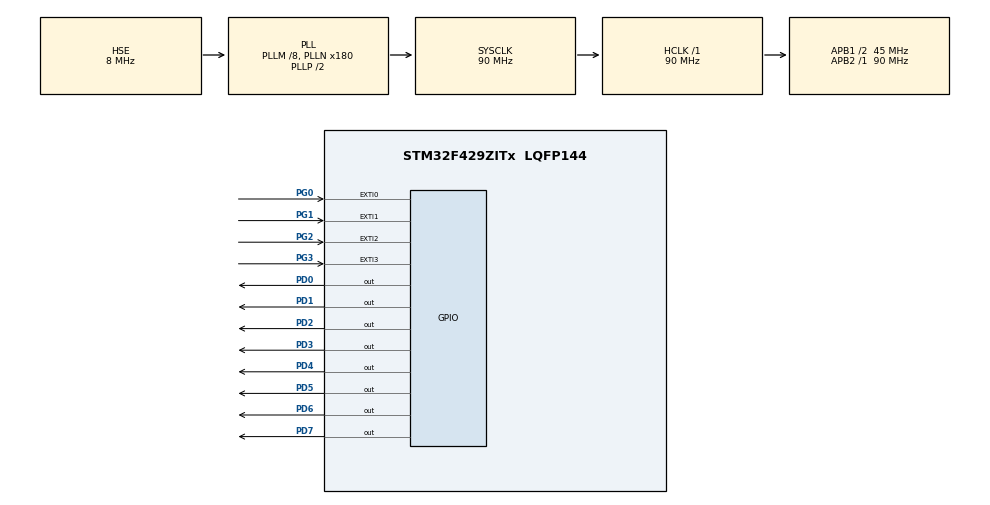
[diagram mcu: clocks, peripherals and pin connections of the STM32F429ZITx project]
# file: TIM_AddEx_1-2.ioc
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Mcu.Family=STM32F4
Mcu.Name=STM32F429ZITx
Mcu.Package=LQFP144
NVIC.EXTI0_IRQn=true\:0\:0\:false\:false\:true\:true\:true\:true
NVIC.EXTI1_IRQn=true\:0\:0\:false\:false\:true\:true\:true\:true
NVIC.EXTI2_IRQn=true\:0\:0\:false\:false\:true\:true\:true\:true
NVIC.EXTI3_IRQn=true\:0\:0\:false\:false\:true\:true\:true\:true
NVIC.PriorityGroup=NVIC_PRIORITYGROUP_4
NVIC.TIM2_IRQn=true\:0\:0\:false\:false\:true\:true\:true\:true
PA13.Mode=Serial_Wire
PA13.Signal=SYS_JTMS-SWDIO
PA14.Mode=Serial_Wire
PA14.Signal=SYS_JTCK-SWCLK
PD0.GPIO_ModeDefaultOutputPP=GPIO_MODE_OUTPUT_PP
PD0.GPIO_PuPd=GPIO_PULLUP
PD0.GPIO_Speed=GPIO_SPEED_FREQ_HIGH
PD0.PinState=GPIO_PIN_RESET
PD0.Signal=GPIO_Output
PD1.GPIO_ModeDefaultOutputPP=GPIO_MODE_OUTPUT_PP
PD1.GPIO_PuPd=GPIO_PULLUP
PD1.GPIO_Speed=GPIO_SPEED_FREQ_HIGH
PD1.PinState=GPIO_PIN_RESET
PD1.Signal=GPIO_Output
PD2.GPIO_ModeDefaultOutputPP=GPIO_MODE_OUTPUT_PP
PD2.GPIO_PuPd=GPIO_PULLUP
PD2.GPIO_Speed=GPIO_SPEED_FREQ_HIGH
PD2.PinState=GPIO_PIN_RESET
PD2.Signal=GPIO_Output
PD3.GPIO_ModeDefaultOutputPP=GPIO_MODE_OUTPUT_PP
PD3.GPIO_PuPd=GPIO_PULLUP
PD3.GPIO_Speed=GPIO_SPEED_FREQ_HIGH
PD3.PinState=GPIO_PIN_RESET
PD3.Signal=GPIO_Output
PD4.GPIO_ModeDefaultOutputPP=GPIO_MODE_OUTPUT_PP
PD4.GPIO_PuPd=GPIO_PULLUP
PD4.GPIO_Speed=GPIO_SPEED_FREQ_HIGH
PD4.PinState=GPIO_PIN_RESET
PD4.Signal=GPIO_Output
PD5.GPIO_ModeDefaultOutputPP=GPIO_MODE_OUTPUT_PP
PD5.GPIO_PuPd=GPIO_PULLUP
PD5.GPIO_Speed=GPIO_SPEED_FREQ_HIGH
PD5.PinState=GPIO_PIN_RESET
PD5.Signal=GPIO_Output
PD6.GPIO_ModeDefaultOutputPP=GPIO_MODE_OUTPUT_PP
PD6.GPIO_PuPd=GPIO_PULLUP
PD6.GPIO_Speed=GPIO_SPEED_FREQ_HIGH
PD6.PinState=GPIO_PIN_RESET
PD6.Signal=GPIO_Output
PD7.GPIO_ModeDefaultOutputPP=GPIO_MODE_OUTPUT_PP
PD7.GPIO_PuPd=GPIO_PULLUP
PD7.GPIO_Speed=GPIO_SPEED_FREQ_HIGH
PD7.PinState=GPIO_PIN_RESET
PD7.Signal=GPIO_Output
PG0.GPIO_ModeDefaultEXTI=GPIO_MODE_IT_FALLING
PG0.GPIO_PuPd=GPIO_NOPULL
PG0.Signal=GPXTI0
PG1.GPIO_ModeDefaultEXTI=GPIO_MODE_IT_FALLING
PG1.GPIO_PuPd=GPIO_NOPULL
PG1.Signal=GPXTI1
PG2.GPIO_ModeDefaultEXTI=GPIO_MODE_IT_FALLING
PG2.GPIO_PuPd=GPIO_NOPULL
PG2.Signal=GPXTI2
PG3.GPIO_ModeDefaultEXTI=GPIO_MODE_IT_FALLING
PG3.GPIO_PuPd=GPIO_NOPULL
PG3.Signal=GPXTI3
PH0/OSC_IN.Mode=HSE-External-Clock-Source
PH0/OSC_IN.Signal=RCC_OSC_IN
PH1/OSC_OUT.Mode=HSE-External-Clock-Source
PH1/OSC_OUT.Signal=RCC_OSC_OUT
ProjectManager.HeapSize=0x200
ProjectManager.StackSize=0x400
ProjectManager.TargetToolchain=STM32CubeIDE
RCC.48MHZClocksFreq_Value=45000000
RCC.AHBFreq_Value=90000000
RCC.APB1CLKDivider=RCC_HCLK_DIV2
RCC.APB1Freq_Value=45000000
RCC.APB1TimFreq_Value=90000000
RCC.APB2Freq_Value=90000000
RCC.APB2TimFreq_Value=90000000
RCC.CortexFreq_Value=90000000
RCC.HCLKFreq_Value=90000000
RCC.HSE_VALUE=8000000
RCC.HSI_VALUE=16000000
RCC.LSE_VALUE=32768
RCC.PLLM=8
RCC.PLLN=180
RCC.PLLSourceVirtual=RCC_PLLSOURCE_HSE
RCC.SYSCLKFreq_VALUE=90000000
RCC.SYSCLKSource=RCC_SYSCLKSOURCE_PLLCLK
RCC.VCOOutputFreq_Value=180000000
TIM2.Period=9
TIM2.Prescaler=8999
VP_TIM2_VS_ClockSourceINT.Mode=Internal
board=custom

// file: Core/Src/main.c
/* USER CODE BEGIN Header */
/**
  ******************************************************************************
  * @file           : main.c
  * @brief          : Main program body
  ******************************************************************************
  * @attention
  *
  * Copyright (c) 2023 STMicroelectronics.
  * All rights reserved.
  *
  * This software is licensed under terms that can be found in the LICENSE file
  * in the root directory of this software component.
  * If no LICENSE file comes with this software, it is provided AS-IS.
  *
  ******************************************************************************
  */
/* USER CODE END Header */
#include "main.h"

TIM_HandleTypeDef htim2;

/* USER CODE BEGIN PV */

int flag_1 = 0, flag_2 = 0, flag_3 = 0, flag_4 = 0;
int cnt_1 = 0, cnt_2 = 0, cnt_3 = 0, cnt_4 = 0, cnt_total = 0;

/* USER CODE END PV */

void SystemClock_Config(void);
static void MX_GPIO_Init(void);
static void MX_TIM2_Init(void);
/* USER CODE BEGIN PFP */

void LED_OnOff(int, int);

/* USER CODE END PFP */

int main(void)
{

  /* MCU Configuration--------------------------------------------------------*/

  /* Reset of all peripherals, Initializes the Flash interface and the Systick. */
  HAL_Init();

  /* Configure the system clock */
  SystemClock_Config();

  /* Initialize all configured peripherals */
  MX_GPIO_Init();
  MX_TIM2_Init();
  /* USER CODE BEGIN 2 */

  LED_OnOff(LED_ALL, 500);;
  HAL_TIM_Base_Start_IT(&htim2);

  /* USER CODE END 2 */

  /* Infinite loop */
  while (1)
  {

  }
}

void SystemClock_Config(void)
{
  RCC_OscInitTypeDef RCC_OscInitStruct = {0};
  RCC_ClkInitTypeDef RCC_ClkInitStruct = {0};

  /** Configure the main internal regulator output voltage
  */
  __HAL_RCC_PWR_CLK_ENABLE();
  __HAL_PWR_VOLTAGESCALING_CONFIG(PWR_REGULATOR_VOLTAGE_SCALE3);

  /** Initializes the RCC Oscillators according to the specified parameters
  * in the RCC_OscInitTypeDef structure.
  */
  RCC_OscInitStruct.OscillatorType = RCC_OSCILLATORTYPE_HSE;
  RCC_OscInitStruct.HSEState = RCC_HSE_BYPASS;
  RCC_OscInitStruct.PLL.PLLState = RCC_PLL_ON;
  RCC_OscInitStruct.PLL.PLLSource = RCC_PLLSOURCE_HSE;
  RCC_OscInitStruct.PLL.PLLM = 8;
  RCC_OscInitStruct.PLL.PLLN = 180;
  RCC_OscInitStruct.PLL.PLLP = RCC_PLLP_DIV2;
  RCC_OscInitStruct.PLL.PLLQ = 4;
  if (HAL_RCC_OscConfig(&RCC_OscInitStruct) != HAL_OK)
  {
    Error_Handler();
  }

  /** Activate the Over-Drive mode
  */
  if (HAL_PWREx_EnableOverDrive() != HAL_OK)
  {
    Error_Handler();
  }

  /** Initializes the CPU, AHB and APB buses clocks
  */
  RCC_ClkInitStruct.ClockType = RCC_CLOCKTYPE_HCLK|RCC_CLOCKTYPE_SYSCLK
                              |RCC_CLOCKTYPE_PCLK1|RCC_CLOCKTYPE_PCLK2;
  RCC_ClkInitStruct.SYSCLKSource = RCC_SYSCLKSOURCE_PLLCLK;
  RCC_ClkInitStruct.AHBCLKDivider = RCC_SYSCLK_DIV1;
  RCC_ClkInitStruct.APB1CLKDivider = RCC_HCLK_DIV2;
  RCC_ClkInitStruct.APB2CLKDivider = RCC_HCLK_DIV1;

  if (HAL_RCC_ClockConfig(&RCC_ClkInitStruct, FLASH_LATENCY_2) != HAL_OK)
  {
    Error_Handler();
  }
}

static void MX_TIM2_Init(void)
{

  TIM_ClockConfigTypeDef sClockSourceConfig = {0};
  TIM_MasterConfigTypeDef sMasterConfig = {0};

  htim2.Instance = TIM2;
  htim2.Init.Prescaler = 8999;
  htim2.Init.CounterMode = TIM_COUNTERMODE_UP;
  htim2.Init.Period = 9;
  htim2.Init.ClockDivision = TIM_CLOCKDIVISION_DIV1;
  htim2.Init.AutoReloadPreload = TIM_AUTORELOAD_PRELOAD_DISABLE;
  if (HAL_TIM_Base_Init(&htim2) != HAL_OK)
  {
    Error_Handler();
  }
  sClockSourceConfig.ClockSource = TIM_CLOCKSOURCE_INTERNAL;
  if (HAL_TIM_ConfigClockSource(&htim2, &sClockSourceConfig) != HAL_OK)
  {
    Error_Handler();
  }
  sMasterConfig.MasterOutputTrigger = TIM_TRGO_RESET;
  sMasterConfig.MasterSlaveMode = TIM_MASTERSLAVEMODE_DISABLE;
  if (HAL_TIMEx_MasterConfigSynchronization(&htim2, &sMasterConfig) != HAL_OK)
  {
    Error_Handler();
  }

}

static void MX_GPIO_Init(void)
{
  GPIO_InitTypeDef GPIO_InitStruct = {0};

  /* GPIO Ports Clock Enable */
  __HAL_RCC_GPIOH_CLK_ENABLE();
  __HAL_RCC_GPIOG_CLK_ENABLE();
  __HAL_RCC_GPIOA_CLK_ENABLE();
  __HAL_RCC_GPIOD_CLK_ENABLE();

  /*Configure GPIO pin Output Level */
  HAL_GPIO_WritePin(GPIOD, GPIO_PIN_0|GPIO_PIN_1|GPIO_PIN_2|GPIO_PIN_3
                          |GPIO_PIN_4|GPIO_PIN_5|GPIO_PIN_6|GPIO_PIN_7, GPIO_PIN_RESET);

  /*Configure GPIO pins : PG0 PG1 PG2 PG3 */
  GPIO_InitStruct.Pin = GPIO_PIN_0|GPIO_PIN_1|GPIO_PIN_2|GPIO_PIN_3;
  GPIO_InitStruct.Mode = GPIO_MODE_IT_FALLING;
  GPIO_InitStruct.Pull = GPIO_NOPULL;
  HAL_GPIO_Init(GPIOG, &GPIO_InitStruct);

  /*Configure GPIO pins : PD0 PD1 PD2 PD3
                           PD4 PD5 PD6 PD7 */
  GPIO_InitStruct.Pin = GPIO_PIN_0|GPIO_PIN_1|GPIO_PIN_2|GPIO_PIN_3
                          |GPIO_PIN_4|GPIO_PIN_5|GPIO_PIN_6|GPIO_PIN_7;
  GPIO_InitStruct.Mode = GPIO_MODE_OUTPUT_PP;
  GPIO_InitStruct.Pull = GPIO_PULLUP;
  GPIO_InitStruct.Speed = GPIO_SPEED_FREQ_HIGH;
  HAL_GPIO_Init(GPIOD, &GPIO_InitStruct);

  /* EXTI interrupt init*/
  HAL_NVIC_SetPriority(EXTI0_IRQn, 0, 0);
  HAL_NVIC_EnableIRQ(EXTI0_IRQn);

  HAL_NVIC_SetPriority(EXTI1_IRQn, 0, 0);
  HAL_NVIC_EnableIRQ(EXTI1_IRQn);

  HAL_NVIC_SetPriority(EXTI2_IRQn, 0, 0);
  HAL_NVIC_EnableIRQ(EXTI2_IRQn);

  HAL_NVIC_SetPriority(EXTI3_IRQn, 0, 0);
  HAL_NVIC_EnableIRQ(EXTI3_IRQn);

}

/* USER CODE BEGIN 4 */

void LED_OnOff(int led, int interval)
{
	HAL_GPIO_WritePin(GPIO_LED, led, GPIO_PIN_SET );
	HAL_GPIO_WritePin(GPIO_LED_Nucleo, led, GPIO_PIN_SET );
	HAL_Delay(interval);
	HAL_GPIO_WritePin(GPIO_LED, led, GPIO_PIN_RESET );
	HAL_GPIO_WritePin(GPIO_LED_Nucleo, led, GPIO_PIN_RESET );
}
void HAL_TIM_PeriodElapsedCallback(TIM_HandleTypeDef *htim)
{
	if ( htim->Instance == TIM2){
		cnt_1++, cnt_2++, cnt_3++, cnt_4++, cnt_total++;

		if (cnt_total==1000){
			HAL_GPIO_WritePin(GPIO_LED, LED1, GPIO_PIN_SET);
			HAL_GPIO_WritePin(GPIO_LED, LED2, GPIO_PIN_SET);
			HAL_GPIO_WritePin(GPIO_LED, LED3, GPIO_PIN_SET);
			HAL_GPIO_WritePin(GPIO_LED, LED4, GPIO_PIN_SET);
			HAL_GPIO_WritePin(GPIO_LED, LED5, GPIO_PIN_SET);
			HAL_GPIO_WritePin(GPIO_LED, LED6, GPIO_PIN_SET);
			HAL_GPIO_WritePin(GPIO_LED, LED7, GPIO_PIN_SET);
			HAL_GPIO_WritePin(GPIO_LED, LED8, GPIO_PIN_SET);
			flag_1++;
			flag_2++;
			flag_3++;
			flag_4++;
			cnt_1 = 0;
			cnt_2 = 0;
			cnt_3 = 0;
			cnt_4 = 0;

		}
		else{
			if (cnt_1==125){
				if (flag_1 == 0){
					HAL_GPIO_WritePin(GPIO_LED, LED1, GPIO_PIN_SET);
					HAL_GPIO_WritePin(GPIO_LED, LED2, GPIO_PIN_SET);
					flag_1++;
					cnt_1 = 0;
				}
				else{
					HAL_GPIO_WritePin(GPIO_LED, LED1, GPIO_PIN_RESET);
					HAL_GPIO_WritePin(GPIO_LED, LED2, GPIO_PIN_RESET);
					flag_1 = 0;
					cnt_1 = 0;
				}
			}
			if (cnt_2==167){
				if (flag_2 == 0){
					HAL_GPIO_WritePin(GPIO_LED, LED3, GPIO_PIN_SET);
					HAL_GPIO_WritePin(GPIO_LED, LED4, GPIO_PIN_SET);
					flag_2++;
					cnt_2 = 0;
				}
				else{
					HAL_GPIO_WritePin(GPIO_LED, LED3, GPIO_PIN_RESET);
					HAL_GPIO_WritePin(GPIO_LED, LED4, GPIO_PIN_RESET);
					flag_2 = 0;
					cnt_2 = 0;
				}
			}
			if (cnt_3==250){
				if (flag_3 == 0){
					HAL_GPIO_WritePin(GPIO_LED, LED5, GPIO_PIN_SET);
					HAL_GPIO_WritePin(GPIO_LED, LED6, GPIO_PIN_SET);
					flag_3++;
					cnt_3 = 0;
				}
				else{
					HAL_GPIO_WritePin(GPIO_LED, LED5, GPIO_PIN_RESET);
					HAL_GPIO_WritePin(GPIO_LED, LED6, GPIO_PIN_RESET);
					flag_3 = 0;
					cnt_3 = 0;
				}
			}
			if (cnt_4==500){
				if (flag_4 == 0){
					HAL_GPIO_WritePin(GPIO_LED, LED7, GPIO_PIN_SET);
					HAL_GPIO_WritePin(GPIO_LED, LED8, GPIO_PIN_SET);
					flag_4++;
					cnt_4 = 0;
				}
				else{
					HAL_GPIO_WritePin(GPIO_LED, LED7, GPIO_PIN_RESET);
					HAL_GPIO_WritePin(GPIO_LED, LED8, GPIO_PIN_RESET);
					flag_4 = 0;
					cnt_4 = 0;
				}
			}
		}
	}
}

/* USER CODE END 4 */

void Error_Handler(void)
{
  __disable_irq();
  while (1)
  {
  }
}
